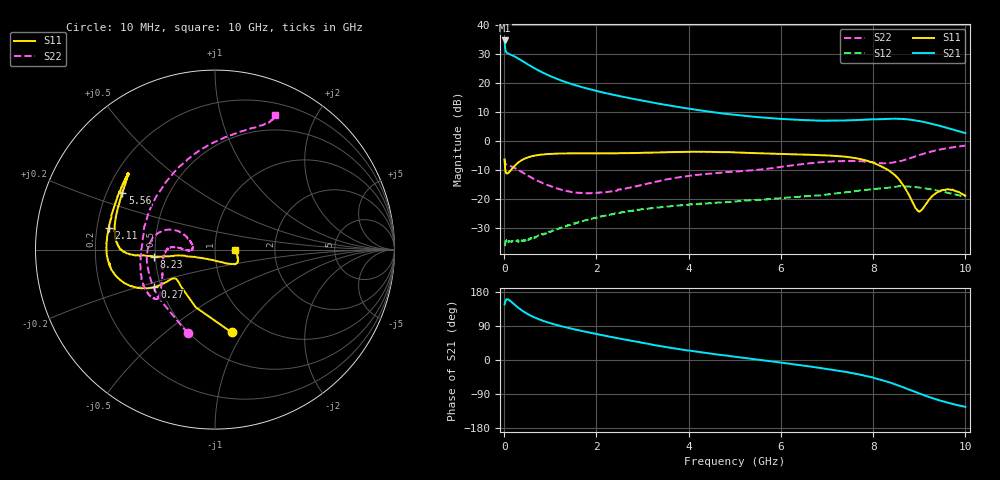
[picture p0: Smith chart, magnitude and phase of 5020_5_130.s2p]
# Hz S  dB  R 50
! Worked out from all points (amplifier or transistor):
!   1000 points, 10 MHz to 10 GHz, reference 50 ohm
!   highest |S21| = 34.6 dB at 10 MHz (marker M1)
!   |S21| within 3 dB of that: start of sweep to 25.2 MHz
!   unconditionally stable (mu >= 1): 55.18 MHz to end of sweep
!   at 1.67 GHz: K = 1.14, MAG = 21.0 dB, |S12| = -27.9 dB
!   at 5.01 GHz: K = 1.11, MAG = 12.9 dB, |S12| = -21.0 dB
!   at 10 GHz: K = 1.15, MAG = 8.7 dB, |S12| = -19.4 dB
!   S11 on the Smith chart (normalised r, x): 10 MHz: 0.75, -0.89; 270 MHz: 0.46, -0.23; 2.11 GHz: 0.25, +0.10; 5.56 GHz: 0.26, +0.26; 8.23 GHz: 0.49, -0.04; 10 GHz: 1.25, -0.00
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1e7  -6.55 -78.7  34.61 146.7  -36.42 28.6  -6.18 -108.0
7e7  -11.33 -142.9  30.24 160.4  -34.76 10.9  -8.37 -174.0
8e7  -11.25 -144.1  30.14 160.1  -34.85 10.2  -8.45 -176.4
1.1e8  -10.84 -145.6  29.93 158.0  -34.68 8.5  -8.59 178.0
2.1e8  -8.98 -147.0  29.21 147.7  -34.83 10.8  -9.26 167.0
2.7e8  -8.04 -148.4  28.70 141.4  -34.66 15.7  -9.75 162.7
3.7e8  -6.86 -151.8  27.73 132.0  -34.51 20.3  -10.69 157.7
5.1e8  -5.78 -156.8  26.37 121.3  -34.23 22.9  -12.02 154.2
6.3e8  -5.25 -161.0  25.25 113.8  -33.79 30.5  -13.09 153.2
7.8e8  -4.85 -165.3  23.97 106.2  -32.82 33.9  -14.22 153.8
9.5e8  -4.60 -169.5  22.66 99.1  -31.84 38.9  -15.38 155.9
1.15e9  -4.46 -173.9  21.31 92.0  -30.50 41.6  -16.49 160.1
1.68e9  -4.36 176.2  18.52 76.7  -27.94 43.5  -18.05 171.7
2.11e9  -4.38 168.3  16.78 65.9  -26.19 41.0  -17.91 179.7
3.34e9  -4.06 146.0  12.82 37.7  -23.00 27.9  -14.02 177.2
5.01e9  -4.05 141.7  8.92 8.5  -20.98 10.2  -10.65 -170.2
5.56e9  -4.36 148.5  8.06 -0.1  -20.41 4.4  -9.98 -156.9
6.67e9  -4.86 168.5  7.02 -17.8  -19.04 -7.6  -7.75 -139.7
8.23e9  -9.32 -173.3  7.46 -54.5  -16.40 -38.4  -7.81 172.4
8.34e9  -10.28 -172.6  7.53 -58.5  -16.18 -41.4  -7.66 162.4
8.99e9  -24.45 -106.7  6.82 -87.9  -16.16 -69.0  -5.01 98.2
1e10  -19.04 -0.6  2.62 -123.6  -19.36 -101.8  -1.71 65.8
